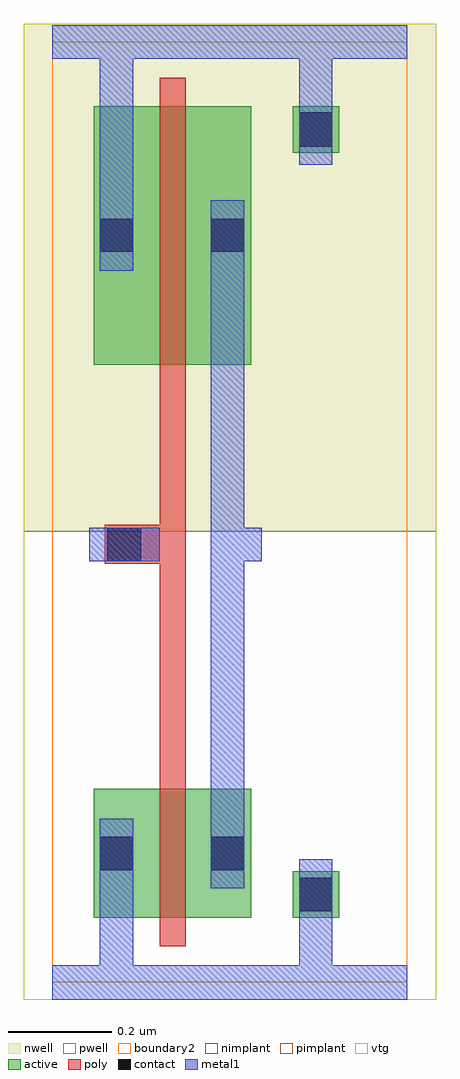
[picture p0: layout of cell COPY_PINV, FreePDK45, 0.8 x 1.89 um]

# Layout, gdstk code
import gdstk
lib = gdstk.Library(unit=1e-6, precision=1e-09)
def R(c, l, rs):  # rectangles x0, y0, x1, y1
    for r in rs: c.add(gdstk.rectangle(r[:2], r[2:], *l))
active = (1, 0)
pwell = (2, 0)
nwell = (3, 0)
nimplant = (4, 0)
pimplant = (5, 0)
vtg = (6, 0)
poly = (9, 0)
contact = (10, 0)
metal1 = (11, 0)
boundary2 = (239, 0)

copy_pinv = lib.new_cell('COPY_PINV')
R(copy_pinv, active, [(0.08,0.125,0.385,0.375), (0.465,0.125,0.555,0.215), (0.08,0.205,0.17,0.295), (0.295,0.205,0.385,0.295), (0.08,1.195,0.385,1.695), (0.08,1.4,0.17,1.49), (0.295,1.4,0.385,1.49), (0.465,1.605,0.555,1.695)])
R(copy_pinv, pwell, [(-0.055,-0.033,0.743,0.873), (0,0.045,0.465,0.455), (0.41,0.07,0.61,0.27), (0.025,0.15,0.225,0.35), (0.24,0.15,0.44,0.35)])
R(copy_pinv, nwell, [(-0.055,0.873,0.743,1.855), (0,1.115,0.465,1.775), (0.025,1.345,0.225,1.545), (0.24,1.345,0.44,1.545), (0.41,1.55,0.61,1.75)])
R(copy_pinv, nimplant, [(0.08,0.125,0.385,0.375), (0.08,0.205,0.17,0.295), (0.295,0.205,0.385,0.295), (0.465,1.605,0.555,1.695)])
R(copy_pinv, pimplant, [(0.465,0.125,0.555,0.215), (0.08,1.195,0.385,1.695), (0.08,1.4,0.17,1.49), (0.295,1.4,0.385,1.49)])
R(copy_pinv, vtg, [(-0.055,-0.033,0.743,0.873), (0,0.045,0.465,0.455), (-0.055,0.873,0.743,1.855), (0,1.115,0.465,1.775)])
R(copy_pinv, poly, [(0.208,0.07,0.258,0.43), (0.208,0.07,0.258,0.43), (0.208,0.43,0.258,1.14), (0.102,0.81,0.177,0.885), (0.14,0.81,0.208,0.885), (0.208,1.14,0.258,1.75), (0.208,1.14,0.258,1.75)])
R(copy_pinv, contact, [(0.478,0.138,0.542,0.203), (0.092,0.217,0.157,0.282), (0.307,0.217,0.372,0.282), (0.107,0.815,0.172,0.88), (0.092,1.413,0.157,1.477), (0.307,1.413,0.372,1.477), (0.478,1.617,0.542,1.683)])
R(copy_pinv, metal1, [(0,-0.033,0.687,0.033), (0,-0.033,0.687,0.033), (0.092,-0.033,0.157,0.182), (0.478,0,0.542,0.17), (0.478,0.103,0.542,0.238), (0.092,0.182,0.157,0.317), (0.092,0.182,0.157,0.317), (0.307,0.182,0.372,1.512), (0.307,0.182,0.372,0.317), (0.307,0.182,0.372,0.317), (0.072,0.815,0.208,0.88), (0.072,0.815,0.208,0.88), (0.072,0.815,0.208,0.88), (0.34,0.815,0.405,0.88), (0.34,0.815,0.405,0.88), (0.092,1.377,0.157,1.852), (0.092,1.377,0.157,1.513), (0.092,1.377,0.157,1.513), (0.307,1.377,0.372,1.513), (0.307,1.377,0.372,1.513), (0.478,1.582,0.542,1.717), (0.478,1.65,0.542,1.82), (0,1.787,0.687,1.852), (0,1.787,0.687,1.852)])
R(copy_pinv, boundary2, [(0,0,0.687,1.82), (0,0,0.687,1.82), (0,0,0.687,1.82), (0,0.045,0.465,0.455), (0.41,0.07,0.61,0.27), (0.025,0.15,0.225,0.35), (0.24,0.15,0.44,0.35), (0.072,0.81,0.208,0.885), (0,1.115,0.465,1.775), (0.025,1.345,0.225,1.545), (0.24,1.345,0.44,1.545), (0.41,1.55,0.61,1.75)])

lib.write_gds('COPY_PINV.gds')
